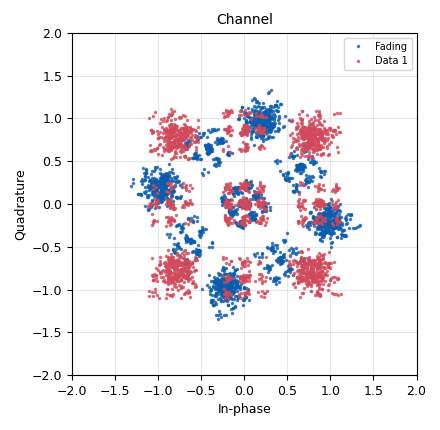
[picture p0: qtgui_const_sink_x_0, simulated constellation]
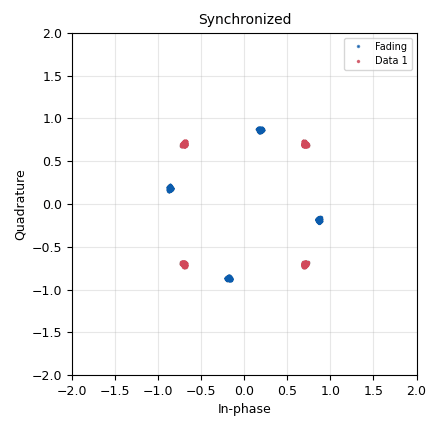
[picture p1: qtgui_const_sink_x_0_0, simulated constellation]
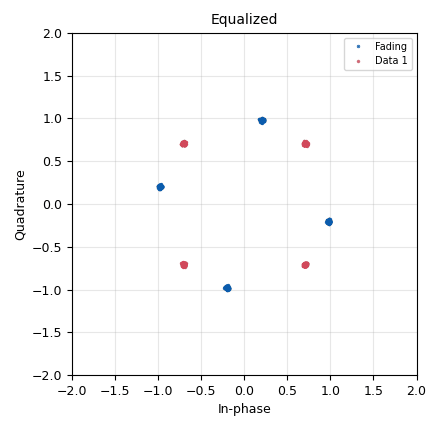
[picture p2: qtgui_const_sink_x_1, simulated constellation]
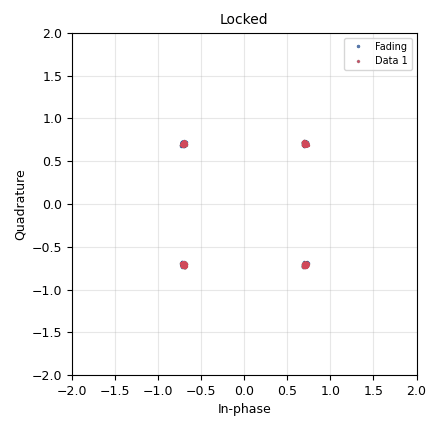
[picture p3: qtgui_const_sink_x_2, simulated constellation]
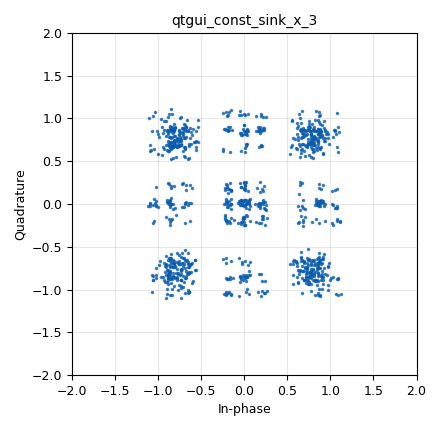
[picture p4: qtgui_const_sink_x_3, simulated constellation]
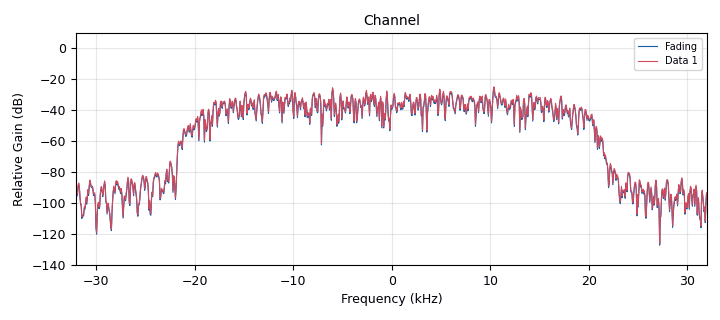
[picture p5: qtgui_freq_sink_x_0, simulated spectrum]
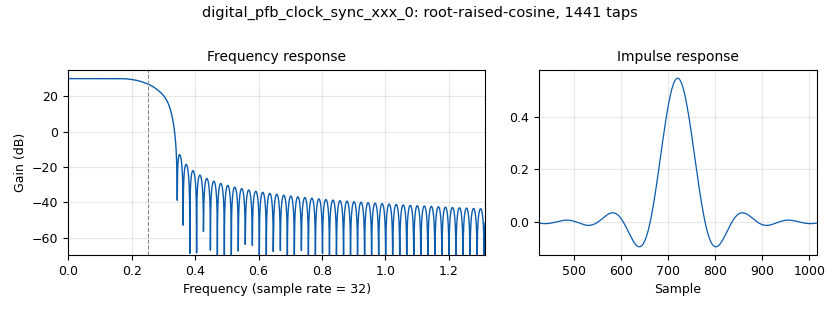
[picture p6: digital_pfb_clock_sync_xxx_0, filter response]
options:
  parameters:
    author: Pross Naoki, Halter Sara Cinzia
    generate_options: qt_gui
    id: qam_fading
    output_language: python
    realtime_scheduling: '1'
    title: QAM mit Fading
  states: {}

blocks:
- name: chn_taps
  id: variable
  parameters:
    value: '[1.0 + 0.0j, ]'
  states: {}
- name: const
  id: variable_constellation
  parameters:
    const_points: '[-1-1j, -1+1j, 1+1j, 1-1j]'
    dims: '1'
    precision: '2'
    rot_sym: '4'
    sym_map: '[0, 1, 3, 2]'
    type: calcdist
  states: {}
- name: eq_gain
  id: variable_qtgui_range
  parameters:
    gui_hint: 'params@1: 0,0,1,1'
    label: Equalizer Rate
    orient: Qt.Horizontal
    start: '0'
    step: '.001'
    stop: '.1'
    value: '.01'
  states: {}
- name: eq_mod
  id: variable
  parameters:
    value: '1'
  states: {}
- name: eq_ntaps
  id: variable
  parameters:
    value: '15'
  states: {}
- name: excess_bw
  id: variable
  parameters:
    value: '350e-3'
  states: {}
- name: fc
  id: variable_qtgui_range
  parameters:
    gui_hint: 'params@0: 1,2,1,1'
    label: fc
    orient: Qt.Horizontal
    rangeType: int
    start: '0'
    step: '1'
    stop: '1000000000'
    value: '1'
  states: {}
- name: freq_offset
  id: variable_qtgui_range
  parameters:
    gui_hint: 'params@0: 1,0,1,1'
    label: Frequency Offset
    orient: Qt.Horizontal
    start: '-100e-3'
    step: '1e-3'
    stop: '100e-3'
    value: '0'
  states: {}
- name: nfilts
  id: variable
  parameters:
    value: '32'
  states: {}
- name: noise_volt
  id: variable_qtgui_range
  parameters:
    gui_hint: 'params@0: 0,0,1,1'
    label: Noise Voltage
    orient: Qt.Horizontal
    start: '0'
    step: '0.01'
    stop: '1'
    value: '0.0001'
  states: {}
- name: phase_bw
  id: variable_qtgui_range
  parameters:
    gui_hint: 'params@1: 1,0,1,1'
    label: Phase Bandwidth
    orient: Qt.Horizontal
    start: '0'
    step: '.01'
    stop: '1'
    value: 2 * 3.141592653589793 / 100
  states: {}
- name: rrc_taps
  id: variable
  parameters:
    value: firdes.root_raised_cosine(nfilts, nfilts, 1.0/float(sps), excess_bw, 45*nfilts)
  states: {}
- name: samp_rate
  id: variable
  parameters:
    value: '64000'
  states: {}
- name: sps
  id: variable
  parameters:
    value: '2'
  states: {}
- name: testvec
  id: variable
  parameters:
    value: '[0x1f, 0x35] + [0x12, 0xe3, 0x9b, 0xee, 0x84, 0x23, 0x41, 0xf3] '
  states: {}
- name: time_offset
  id: variable_qtgui_range
  parameters:
    gui_hint: 'params@0: 0,1,1,1'
    label: Timing Offset
    orient: Qt.Horizontal
    start: '0.999'
    step: '0.0001'
    stop: '1.001'
    value: '1.0'
  states: {}
- name: timing_loop_bw
  id: variable_qtgui_range
  parameters:
    gui_hint: 'params@0: 1,1,1,1'
    label: Time Bandwidth
    orient: Qt.Horizontal
    start: '0'
    step: '10e-3'
    stop: '200e-3'
    value: 2 * 3.141592653589793 / 100
  states: {}
- name: analog_random_source_x_0
  id: analog_random_source_x
  parameters:
    max: '255'
    min: '0'
    num_samps: '500000'
    repeat: 'True'
    type: byte
  states: {}
- name: blocks_char_to_float_0
  id: blocks_char_to_float
  parameters:
    scale: '1'
  states: {}
- name: blocks_char_to_float_0_0
  id: blocks_char_to_float
  parameters:
    scale: '1'
  states: {}
- name: blocks_char_to_float_0_1
  id: blocks_char_to_float
  parameters:
    scale: '1'
  states: {}
- name: blocks_delay_0
  id: blocks_delay
  parameters:
    delay: '50'
    type: float
  states: {}
- name: blocks_throttle_0
  id: blocks_throttle
  parameters:
    samples_per_second: samp_rate
    type: complex
  states: {}
- name: blocks_throttle_0_0
  id: blocks_throttle
  parameters:
    samples_per_second: samp_rate
    type: byte
  states: {state: bypassed}
- name: blocks_unpack_k_bits_bb_0
  id: blocks_unpack_k_bits_bb
  parameters:
    k: '2'
  states: {}
- name: blocks_unpack_k_bits_bb_0_0
  id: blocks_unpack_k_bits_bb
  parameters:
    k: '2'
  states: {}
- name: blocks_unpack_k_bits_bb_0_1
  id: blocks_unpack_k_bits_bb
  parameters:
    k: '2'
  states: {}
- name: blocks_vector_source_x_0
  id: blocks_vector_source_x
  parameters:
    repeat: 'True'
    type: byte
    vector: testvec * 500
  states: {state: disabled}
- name: channels_channel_model_0
  id: channels_channel_model
  parameters:
    epsilon: time_offset
    freq_offset: freq_offset
    noise_voltage: noise_volt
    seed: '0'
    taps: chn_taps
  states: {}
- name: channels_selective_fading_model2_0
  id: channels_selective_fading_model2
  parameters:
    K: '5.1'
    LOS: 'False'
    N: '8'
    delay_maxdev: (0.5,0.7)
    delay_std: (1e-4,1e-4)
    delays: (0,2e-5/samp_rate)
    fDTs: ((4*fc)/(3*10e8))/samp_rate
    mags: (1,0.12)
    ntaps: '8'
    seed: '0'
  states: {state: disabled}
- name: channels_selective_fading_model_0
  id: channels_selective_fading_model
  parameters:
    K: '4'
    LOS: 'False'
    N: '8'
    delays: (0,2e-5/samp_rate)
    fDTs: ((4*fc)/(3*10e8))/samp_rate
    mags: (1,0.12)
    ntaps: '8'
    seed: '0'
  states: {}
- name: channels_selective_fading_model_2
  id: channels_selective_fading_model
  parameters:
    LOS: 'False'
    N: '30'
    delays: (0.0,0.1,1.3)
    fDTs: '0'
    mags: (1,0.99,0.97)
    ntaps: '8'
    seed: '0'
  states: {state: disabled}
- name: digital_cma_equalizer_cc_0
  id: digital_cma_equalizer_cc
  parameters:
    modulus: eq_mod
    mu: eq_gain
    num_taps: eq_ntaps
    sps: '2'
  states: {}
- name: digital_cma_equalizer_cc_0_0
  id: digital_cma_equalizer_cc
  parameters:
    modulus: eq_mod
    mu: eq_gain
    num_taps: eq_ntaps
    sps: '2'
  states: {}
- name: digital_constellation_decoder_cb_0
  id: digital_constellation_decoder_cb
  parameters:
    constellation: const
  states: {}
- name: digital_constellation_decoder_cb_0_0
  id: digital_constellation_decoder_cb
  parameters:
    constellation: const
  states: {}
- name: digital_constellation_modulator_0
  id: digital_constellation_modulator
  parameters:
    constellation: const
    differential: 'True'
    excess_bw: excess_bw
    samples_per_symbol: sps
  states: {}
- name: digital_constellation_receiver_cb_0
  id: digital_constellation_receiver_cb
  parameters:
    constellation: const
    fmax: '1'
    fmin: '1.5'
    loop_bw: timing_loop_bw
  states: {state: disabled}
- name: digital_costas_loop_cc_0
  id: digital_costas_loop_cc
  parameters:
    order: '4'
    w: phase_bw
  states: {}
- name: digital_costas_loop_cc_0_0
  id: digital_costas_loop_cc
  parameters:
    order: '4'
    w: phase_bw
  states: {}
- name: digital_diff_decoder_bb_0
  id: digital_diff_decoder_bb
  parameters:
    modulus: '4'
  states: {}
- name: digital_diff_decoder_bb_0_0
  id: digital_diff_decoder_bb
  parameters:
    modulus: '4'
  states: {}
- name: digital_map_bb_0
  id: digital_map_bb
  parameters:
    map: '[0, 1, 3, 2]'
  states: {}
- name: digital_map_bb_0_0
  id: digital_map_bb
  parameters:
    map: '[0, 1, 3, 2]'
  states: {}
- name: digital_pfb_clock_sync_xxx_0
  id: digital_pfb_clock_sync_xxx
  parameters:
    filter_size: nfilts
    init_phase: nfilts/2
    loop_bw: timing_loop_bw
    max_dev: '1.5'
    osps: '1'
    sps: 'sps '
    taps: rrc_taps
    type: ccf
  states: {}
- name: digital_pfb_clock_sync_xxx_0_0
  id: digital_pfb_clock_sync_xxx
  parameters:
    filter_size: nfilts
    init_phase: nfilts/2
    loop_bw: timing_loop_bw
    max_dev: '1.5'
    osps: '1'
    sps: 'sps '
    taps: rrc_taps
    type: ccf
  states: {}
- name: fir_filter_xxx_0
  id: fir_filter_xxx
  parameters:
    decim: '1'
    taps: rrc_taps
    type: ccc
  states: {state: bypassed}
- name: import_0
  id: import
  parameters:
    imports: import numpy as np
  states: {}
- name: params
  id: qtgui_tab_widget
  parameters:
    label0: Channel
    label1: Receiver
    num_tabs: '2'
  states: {}
- name: plots
  id: qtgui_tab_widget
  parameters:
    label0: Constellations
    label1: Frequency
    label2: Time
    num_tabs: '3'
  states: {}
- name: qtgui_const_sink_x_0
  id: qtgui_const_sink_x
  parameters:
    gui_hint: 'plots@0: 0,0,1,1'
    label1: Fading
    name: '"Channel"'
    nconnections: '2'
    size: '2048'
    type: complex
  states: {}
- name: qtgui_const_sink_x_0_0
  id: qtgui_const_sink_x
  parameters:
    gui_hint: 'plots@0: 0,1,1,1'
    label1: Fading
    name: '"Synchronized"'
    nconnections: '2'
    size: '2048'
    type: complex
  states: {}
- name: qtgui_const_sink_x_1
  id: qtgui_const_sink_x
  parameters:
    gui_hint: 'plots@0: 1,0,1,1'
    label1: Fading
    name: '"Equalized"'
    nconnections: '2'
    size: '1024'
    type: complex
  states: {}
- name: qtgui_const_sink_x_2
  id: qtgui_const_sink_x
  parameters:
    gui_hint: 'plots@0: 1,1,1,1'
    label1: Fading
    name: '"Locked"'
    nconnections: '2'
    size: '1024'
    type: complex
  states: {}
- name: qtgui_const_sink_x_3
  id: qtgui_const_sink_x
  parameters:
    size: '1024'
    type: complex
  states: {}
- name: qtgui_freq_sink_x_0
  id: qtgui_freq_sink_x
  parameters:
    bw: samp_rate
    fc: '0'
    fftsize: '1024'
    gui_hint: 'plots@1: 0,0,1,1'
    label1: Fading
    name: '"Channel"'
    nconnections: '2'
    type: complex
    wintype: firdes.WIN_BLACKMAN_hARRIS
  states: {}
- name: qtgui_freq_sink_x_2_1
  id: qtgui_freq_sink_x
  parameters:
    bw: samp_rate
    fc: '0'
    fftsize: '1024'
    label1: Fading
    nconnections: '2'
    type: float
    wintype: firdes.WIN_BLACKMAN_hARRIS
  states: {state: disabled}
- name: qtgui_time_sink_x_0
  id: qtgui_time_sink_x
  parameters:
    gui_hint: 'plots@2: 0,0,1,1'
    label1: Received
    label2: Sent
    name: '"Decoded"'
    nconnections: '3'
    size: '1024'
    srate: samp_rate
    type: float
  states: {}

connections:
- [analog_random_source_x_0, '0', blocks_throttle_0_0, '0']
- [analog_random_source_x_0, '0', blocks_unpack_k_bits_bb_0_0, '0']
- [blocks_char_to_float_0, '0', qtgui_freq_sink_x_2_1, '0']
- [blocks_char_to_float_0, '0', qtgui_time_sink_x_0, '0']
- [blocks_char_to_float_0_0, '0', blocks_delay_0, '0']
- [blocks_char_to_float_0_1, '0', qtgui_freq_sink_x_2_1, '1']
- [blocks_char_to_float_0_1, '0', qtgui_time_sink_x_0, '2']
- [blocks_delay_0, '0', qtgui_time_sink_x_0, '1']
- [blocks_throttle_0, '0', fir_filter_xxx_0, '0']
- [blocks_throttle_0_0, '0', digital_constellation_modulator_0, '0']
- [blocks_unpack_k_bits_bb_0, '0', blocks_char_to_float_0, '0']
- [blocks_unpack_k_bits_bb_0_0, '0', blocks_char_to_float_0_0, '0']
- [blocks_unpack_k_bits_bb_0_1, '0', blocks_char_to_float_0_1, '0']
- [blocks_vector_source_x_0, '0', digital_constellation_modulator_0, '0']
- [channels_channel_model_0, '0', channels_selective_fading_model2_0, '0']
- [channels_channel_model_0, '0', channels_selective_fading_model_0, '0']
- [channels_channel_model_0, '0', channels_selective_fading_model_2, '0']
- [channels_channel_model_0, '0', digital_pfb_clock_sync_xxx_0_0, '0']
- [channels_channel_model_0, '0', qtgui_const_sink_x_0, '1']
- [channels_channel_model_0, '0', qtgui_freq_sink_x_0, '1']
- [channels_selective_fading_model2_0, '0', digital_pfb_clock_sync_xxx_0, '0']
- [channels_selective_fading_model2_0, '0', qtgui_const_sink_x_0, '0']
- [channels_selective_fading_model2_0, '0', qtgui_freq_sink_x_0, '0']
- [channels_selective_fading_model_0, '0', digital_constellation_receiver_cb_0, '0']
- [channels_selective_fading_model_0, '0', digital_pfb_clock_sync_xxx_0, '0']
- [channels_selective_fading_model_0, '0', qtgui_const_sink_x_0, '0']
- [channels_selective_fading_model_0, '0', qtgui_freq_sink_x_0, '0']
- [channels_selective_fading_model_2, '0', digital_pfb_clock_sync_xxx_0, '0']
- [channels_selective_fading_model_2, '0', qtgui_const_sink_x_0, '0']
- [channels_selective_fading_model_2, '0', qtgui_freq_sink_x_0, '0']
- [digital_cma_equalizer_cc_0, '0', digital_costas_loop_cc_0, '0']
- [digital_cma_equalizer_cc_0, '0', qtgui_const_sink_x_1, '0']
- [digital_cma_equalizer_cc_0_0, '0', digital_costas_loop_cc_0_0, '0']
- [digital_cma_equalizer_cc_0_0, '0', qtgui_const_sink_x_1, '1']
- [digital_constellation_decoder_cb_0, '0', digital_diff_decoder_bb_0, '0']
- [digital_constellation_decoder_cb_0_0, '0', digital_diff_decoder_bb_0_0, '0']
- [digital_constellation_modulator_0, '0', blocks_throttle_0, '0']
- [digital_constellation_modulator_0, '0', qtgui_const_sink_x_3, '0']
- [digital_constellation_receiver_cb_0, '0', digital_diff_decoder_bb_0, '0']
- [digital_constellation_receiver_cb_0, '4', digital_cma_equalizer_cc_0, '0']
- [digital_constellation_receiver_cb_0, '4', qtgui_const_sink_x_0_0, '0']
- [digital_constellation_receiver_cb_0, '4', qtgui_const_sink_x_1, '0']
- [digital_constellation_receiver_cb_0, '4', qtgui_const_sink_x_2, '0']
- [digital_costas_loop_cc_0, '0', digital_constellation_decoder_cb_0, '0']
- [digital_costas_loop_cc_0, '0', qtgui_const_sink_x_2, '0']
- [digital_costas_loop_cc_0_0, '0', digital_constellation_decoder_cb_0_0, '0']
- [digital_costas_loop_cc_0_0, '0', qtgui_const_sink_x_2, '1']
- [digital_diff_decoder_bb_0, '0', digital_map_bb_0, '0']
- [digital_diff_decoder_bb_0_0, '0', digital_map_bb_0_0, '0']
- [digital_map_bb_0, '0', blocks_unpack_k_bits_bb_0, '0']
- [digital_map_bb_0_0, '0', blocks_unpack_k_bits_bb_0_1, '0']
- [digital_pfb_clock_sync_xxx_0, '0', digital_cma_equalizer_cc_0, '0']
- [digital_pfb_clock_sync_xxx_0, '0', qtgui_const_sink_x_0_0, '0']
- [digital_pfb_clock_sync_xxx_0_0, '0', digital_cma_equalizer_cc_0_0, '0']
- [digital_pfb_clock_sync_xxx_0_0, '0', qtgui_const_sink_x_0_0, '1']
- [fir_filter_xxx_0, '0', channels_channel_model_0, '0']

metadata:
  file_format: 1
